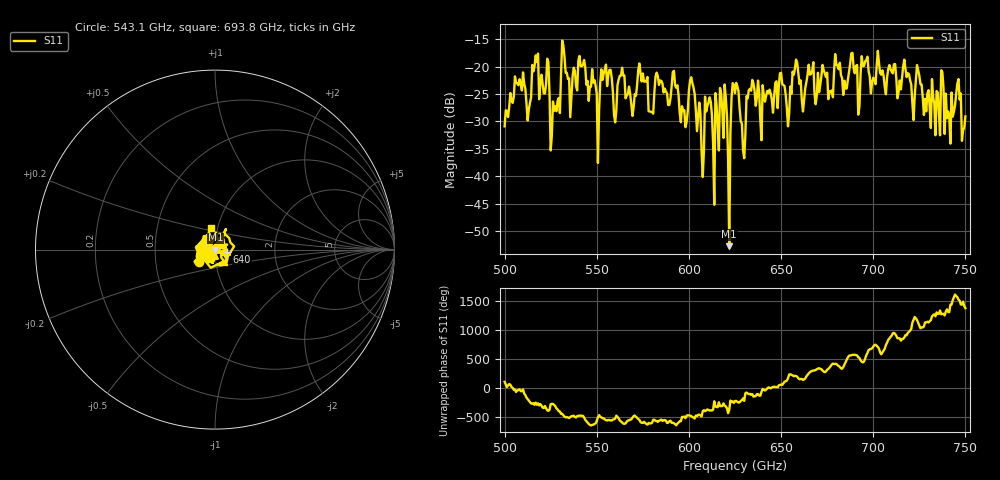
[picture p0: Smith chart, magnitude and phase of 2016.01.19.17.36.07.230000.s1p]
!Created with skrf (http://scikit-rf.org).
# GHz S RI R 50.0
!freq ReS11 ImS11
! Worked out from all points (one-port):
!   401 points, 500 GHz to 750 GHz, reference 50 ohm
!   lowest |S11| = -52.7 dB at 621.9 GHz (marker M1), VSWR 1.00, Z = 50.2 - j0.0491 ohm
!   |S11| at or under -10 dB: start of sweep to end of sweep
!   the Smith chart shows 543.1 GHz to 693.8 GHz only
!   S11 on the Smith chart (normalised r, x): 543.1 GHz: 0.83, -0.12; 640 GHz: 1.14, -0.03; 693.8 GHz: 0.93, +0.23
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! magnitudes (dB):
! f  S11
! 500 GHz  -30.9
! 506.9 GHz  -23.1
! 513.1 GHz  -27.8
! 516.9 GHz  -18.0
! 526.2 GHz  -26.4
! 531.2 GHz  -15.3
! 543.1 GHz  -18.8
! 550.6 GHz  -37.5
! 553.8 GHz  -21.3
! 560 GHz  -30.2
! 562.5 GHz  -21.7
! 579.4 GHz  -28.2
! 583.1 GHz  -21.7
! 593.8 GHz  -23.4
! 598.1 GHz  -31.0
! 601.9 GHz  -23.0
! 606.9 GHz  -35.5
! 618.1 GHz  -28.0
! 621.9 GHz  -52.7
! 625 GHz  -24.8
! 629.4 GHz  -35.3
! 633.8 GHz  -24.4
! 640 GHz  -23.4
! 656.2 GHz  -20.9
! 687.5 GHz  -19.4
! 693.8 GHz  -18.1
! 718.8 GHz  -21.2
! 750 GHz  -29.1
